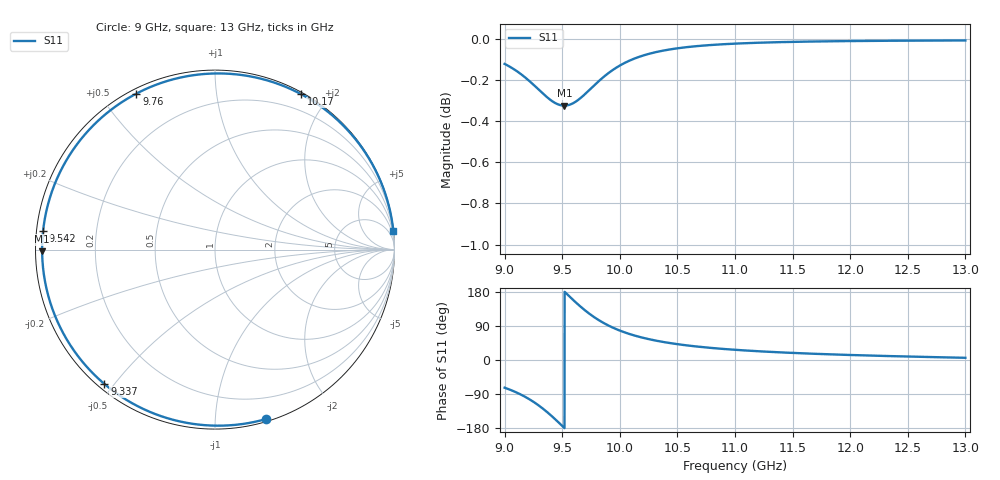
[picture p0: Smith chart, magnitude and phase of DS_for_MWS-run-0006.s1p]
! TOUCHSTONE file generated by CST DESIGN STUDIO
! Date and time: Tue Feb  4 18:14:34 2025
! Project name: C:\Work\MatlabApps\UnitCellOptimizationMatlab\CST\unitcell.cst
! Tree item: Tasks\Sweep1\SPara1\S-Parameters
! Header version: 2024
! Port assignment regex: !\s*Touchstone port\s*([0-9]+)\s*=\s*(CST MWS port|CST DES external port|CST DES block port)\s*(.+)\s* \(\"(.*)\"\)(\s*mode\s*([0-9]+))?.*
! Touchstone port assignment:
! Touchstone port 1 = CST DES external port 1 ("")
# GHz S MA R 50
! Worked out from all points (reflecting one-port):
!   4001 points, 9 GHz to 13 GHz, reference 50 ohm
!   lowest |S11| = -0.3 dB at 9.519 GHz (marker M1), VSWR 53.54, Z = 0.934 - j0.229 ohm
!   phase of S11 starts at -73 deg and turns -281 deg over the sweep
!   S11 on the Smith chart (normalised r, x): 9 GHz: 0.02, -1.35; 9.337 GHz: 0.02, -0.47; 9.542 GHz: 0.02, +0.05; 9.76 GHz: 0.02, +0.62; 10.17 GHz: 0.02, +1.70; 13 GHz: 0, +20
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9  0.9861 -73.1
9.091  0.9827 -84.0
9.196  0.9777 -100.2
9.27  0.9735 -114.4
9.337  0.9696 -129.5
9.381  0.9672 -140.5
9.427  0.9652 -152.9
9.464  0.964 -163.4
9.5  0.9634 -173.9
9.519  0.9633 -179.5
9.542  0.9635 173.8
9.596  0.9647 158.1
9.657  0.9673 141.4
9.708  0.9701 128.6
9.76  0.9733 116.8
9.81  0.9762 106.6
9.865  0.9792 96.8
10  0.9852 77.7
10.082  0.9878 68.8
10.171  0.9901 60.9
10.321  0.9927 50.7
10.5  0.9947 41.8
10.722  0.9962 33.9
11  0.9973 26.9
11.5  0.9983 18.7
12  0.9988 13.2
12.5  0.999 9.1
13  0.9991 5.8
